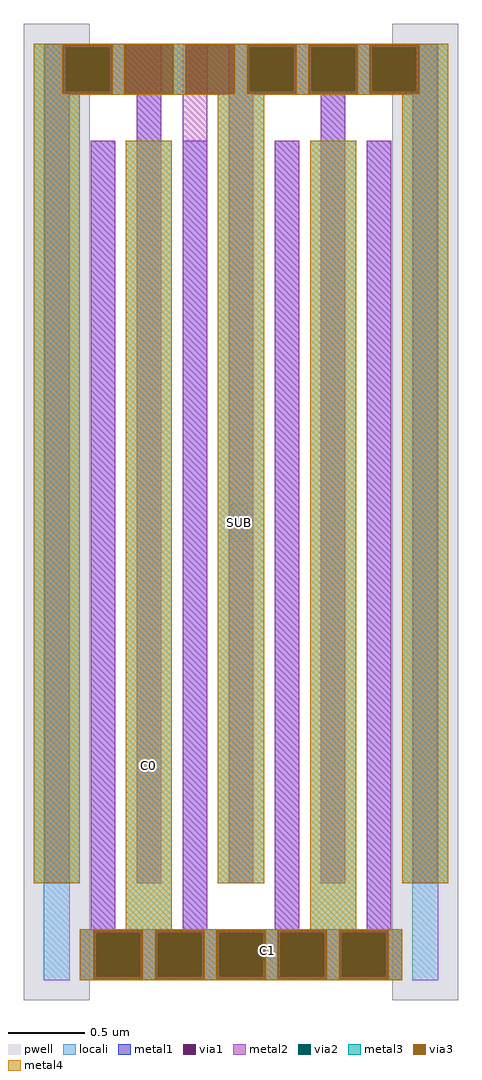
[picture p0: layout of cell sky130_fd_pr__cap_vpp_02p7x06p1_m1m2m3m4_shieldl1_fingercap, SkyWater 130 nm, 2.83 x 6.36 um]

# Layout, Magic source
magic
tech sky130A
magscale 1 2
<< pwell >>
rect -13 -26 73 1246
rect 257 572 278 621
rect 467 -26 553 1246
<< locali >>
rect 13 0 47 1220
rect 493 0 527 1220
<< metal1 >>
rect 14 1213 526 1220
rect 14 1161 44 1213
rect 96 1161 284 1213
rect 336 1161 364 1213
rect 416 1161 444 1213
rect 496 1161 526 1213
rect 14 1154 526 1161
rect 14 126 46 1154
rect 74 66 106 1094
rect 134 126 166 1154
rect 194 66 226 1094
rect 254 126 286 1154
rect 314 66 346 1094
rect 374 126 406 1154
rect 434 66 466 1094
rect 494 126 526 1154
rect 60 59 480 66
rect 60 7 84 59
rect 136 7 164 59
rect 216 7 244 59
rect 296 7 324 59
rect 376 7 404 59
rect 456 7 480 59
rect 60 0 480 7
<< via1 >>
rect 44 1161 96 1213
rect 284 1161 336 1213
rect 364 1161 416 1213
rect 444 1161 496 1213
rect 84 7 136 59
rect 164 7 216 59
rect 244 7 296 59
rect 324 7 376 59
rect 404 7 456 59
<< metal2 >>
rect 14 1215 166 1220
rect 14 1159 42 1215
rect 98 1159 166 1215
rect 14 1154 166 1159
rect 14 126 46 1154
rect 74 66 106 1094
rect 134 126 166 1154
rect 194 66 226 1220
rect 254 1215 526 1220
rect 254 1159 282 1215
rect 338 1159 362 1215
rect 418 1159 442 1215
rect 498 1159 526 1215
rect 254 1154 526 1159
rect 254 126 286 1154
rect 314 66 346 1094
rect 374 126 406 1154
rect 434 66 466 1094
rect 494 126 526 1154
rect 60 61 480 66
rect 60 5 82 61
rect 138 5 162 61
rect 218 5 242 61
rect 298 5 322 61
rect 378 5 402 61
rect 458 5 480 61
rect 60 0 480 5
<< via2 >>
rect 42 1213 98 1215
rect 42 1161 44 1213
rect 44 1161 96 1213
rect 96 1161 98 1213
rect 42 1159 98 1161
rect 282 1213 338 1215
rect 282 1161 284 1213
rect 284 1161 336 1213
rect 336 1161 338 1213
rect 282 1159 338 1161
rect 362 1213 418 1215
rect 362 1161 364 1213
rect 364 1161 416 1213
rect 416 1161 418 1213
rect 362 1159 418 1161
rect 442 1213 498 1215
rect 442 1161 444 1213
rect 444 1161 496 1213
rect 496 1161 498 1213
rect 442 1159 498 1161
rect 82 59 138 61
rect 82 7 84 59
rect 84 7 136 59
rect 136 7 138 59
rect 82 5 138 7
rect 162 59 218 61
rect 162 7 164 59
rect 164 7 216 59
rect 216 7 218 59
rect 162 5 218 7
rect 242 59 298 61
rect 242 7 244 59
rect 244 7 296 59
rect 296 7 298 59
rect 242 5 298 7
rect 322 59 378 61
rect 322 7 324 59
rect 324 7 376 59
rect 376 7 378 59
rect 322 5 378 7
rect 402 59 458 61
rect 402 7 404 59
rect 404 7 456 59
rect 456 7 458 59
rect 402 5 458 7
<< metal3 >>
rect 0 1219 540 1220
rect 0 1155 38 1219
rect 102 1155 118 1219
rect 182 1155 198 1219
rect 262 1155 278 1219
rect 342 1155 358 1219
rect 422 1155 438 1219
rect 502 1155 540 1219
rect 0 1154 540 1155
rect 0 126 60 1154
rect 120 66 180 1094
rect 240 126 300 1154
rect 360 66 420 1094
rect 480 126 540 1154
rect 60 65 480 66
rect 60 1 78 65
rect 142 1 158 65
rect 222 1 238 65
rect 302 1 318 65
rect 382 1 398 65
rect 462 1 480 65
rect 60 0 480 1
<< via3 >>
rect 38 1215 102 1219
rect 38 1159 42 1215
rect 42 1159 98 1215
rect 98 1159 102 1215
rect 38 1155 102 1159
rect 118 1155 182 1219
rect 198 1155 262 1219
rect 278 1215 342 1219
rect 278 1159 282 1215
rect 282 1159 338 1215
rect 338 1159 342 1215
rect 278 1155 342 1159
rect 358 1215 422 1219
rect 358 1159 362 1215
rect 362 1159 418 1215
rect 418 1159 422 1215
rect 358 1155 422 1159
rect 438 1215 502 1219
rect 438 1159 442 1215
rect 442 1159 498 1215
rect 498 1159 502 1215
rect 438 1155 502 1159
rect 78 61 142 65
rect 78 5 82 61
rect 82 5 138 61
rect 138 5 142 61
rect 78 1 142 5
rect 158 61 222 65
rect 158 5 162 61
rect 162 5 218 61
rect 218 5 222 61
rect 158 1 222 5
rect 238 61 302 65
rect 238 5 242 61
rect 242 5 298 61
rect 298 5 302 61
rect 238 1 302 5
rect 318 61 382 65
rect 318 5 322 61
rect 322 5 378 61
rect 378 5 382 61
rect 318 1 382 5
rect 398 61 462 65
rect 398 5 402 61
rect 402 5 458 61
rect 458 5 462 61
rect 398 1 462 5
<< metal4 >>
rect 0 1219 540 1220
rect 0 1155 38 1219
rect 102 1155 118 1219
rect 182 1155 198 1219
rect 262 1155 278 1219
rect 342 1155 358 1219
rect 422 1155 438 1219
rect 502 1155 540 1219
rect 0 1154 540 1155
rect 0 126 60 1154
rect 120 66 180 1094
rect 240 126 300 1154
rect 360 66 420 1094
rect 480 126 540 1154
rect 60 65 480 66
rect 60 1 78 65
rect 142 1 158 65
rect 222 1 238 65
rect 302 1 318 65
rect 382 1 398 65
rect 462 1 480 65
rect 60 0 480 1
<< labels >>
flabel metal2 s 140 270 159 290 0 FreeSans 200 0 0 0 C0
port 1 nsew
flabel metal2 s 287 21 323 57 0 FreeSans 200 0 0 0 C1
port 2 nsew
flabel pwell s 257 572 278 621 0 FreeSans 400 0 0 0 SUB
port 3 nsew
<< properties >>
string GDS_FILE $PDKPATH/libs.ref/sky130_fd_pr/gds/sky130_fd_pr.gds
string GDS_END 55800
string GDS_START 49608
string path 1.500 0.825 12.000 0.825 
<< end >>
